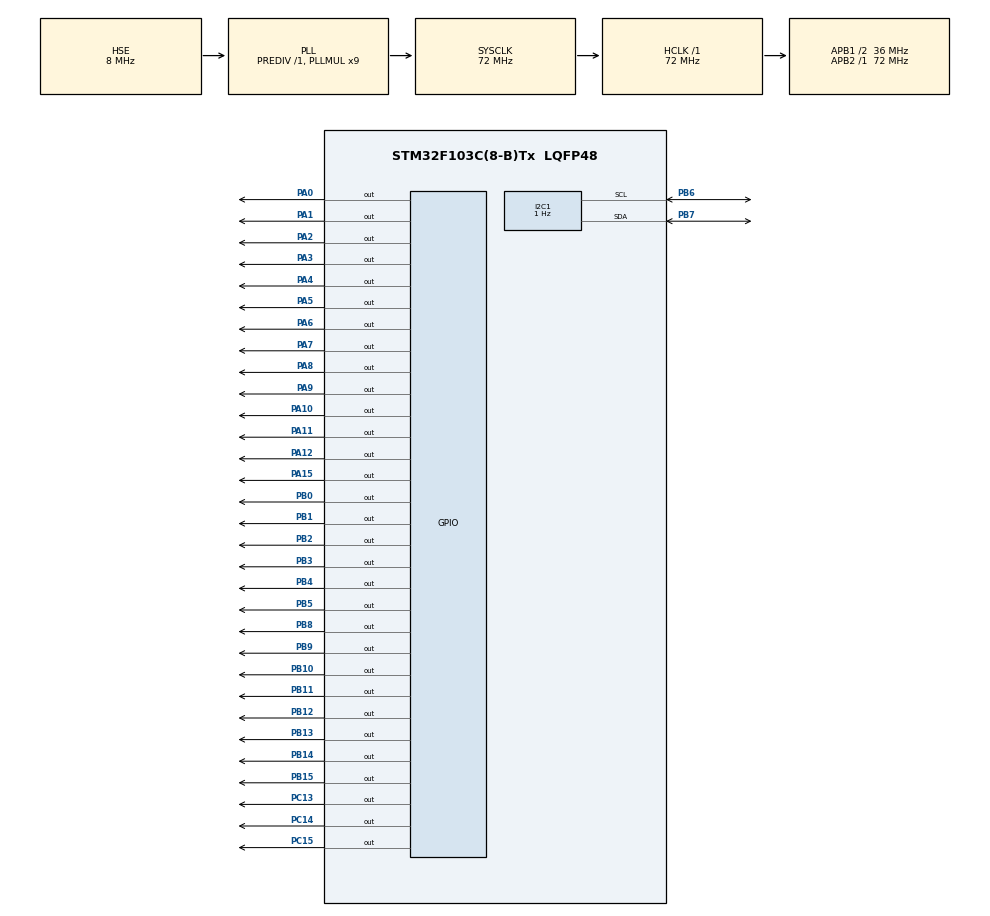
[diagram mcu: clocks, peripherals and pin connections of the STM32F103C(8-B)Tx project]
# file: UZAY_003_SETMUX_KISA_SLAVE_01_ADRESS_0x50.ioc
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I2C1.ClockSpeed=1
I2C1.I2C_Mode=I2C_Standard
I2C1.OwnAddress=0x50
Mcu.Family=STM32F1
Mcu.Name=STM32F103C(8-B)Tx
Mcu.Package=LQFP48
NVIC.I2C1_ER_IRQn=true\:0\:0\:false\:false\:true\:true\:true\:true
NVIC.I2C1_EV_IRQn=true\:0\:0\:false\:false\:true\:true\:true\:true
NVIC.PriorityGroup=NVIC_PRIORITYGROUP_4
NVIC.TIM1_UP_IRQn=true\:0\:0\:false\:false\:true\:true\:true\:true
NVIC.TIM2_IRQn=true\:0\:0\:false\:false\:true\:true\:true\:true
PA0-WKUP.GPIO_ModeDefaultOutputPP=GPIO_MODE_OUTPUT_PP
PA0-WKUP.GPIO_PuPd=GPIO_NOPULL
PA0-WKUP.GPIO_Speed=GPIO_SPEED_FREQ_HIGH
PA0-WKUP.PinState=GPIO_PIN_RESET
PA0-WKUP.Signal=GPIO_Output
PA1.GPIO_ModeDefaultOutputPP=GPIO_MODE_OUTPUT_PP
PA1.GPIO_PuPd=GPIO_NOPULL
PA1.GPIO_Speed=GPIO_SPEED_FREQ_HIGH
PA1.PinState=GPIO_PIN_RESET
PA1.Signal=GPIO_Output
PA10.GPIO_ModeDefaultOutputPP=GPIO_MODE_OUTPUT_PP
PA10.GPIO_PuPd=GPIO_NOPULL
PA10.GPIO_Speed=GPIO_SPEED_FREQ_HIGH
PA10.PinState=GPIO_PIN_RESET
PA10.Signal=GPIO_Output
PA11.GPIO_ModeDefaultOutputPP=GPIO_MODE_OUTPUT_PP
PA11.GPIO_PuPd=GPIO_NOPULL
PA11.GPIO_Speed=GPIO_SPEED_FREQ_HIGH
PA11.PinState=GPIO_PIN_RESET
PA11.Signal=GPIO_Output
PA12.GPIO_ModeDefaultOutputPP=GPIO_MODE_OUTPUT_PP
PA12.GPIO_PuPd=GPIO_NOPULL
PA12.GPIO_Speed=GPIO_SPEED_FREQ_HIGH
PA12.PinState=GPIO_PIN_RESET
PA12.Signal=GPIO_Output
PA13.Mode=Serial_Wire
PA13.Signal=SYS_JTMS-SWDIO
PA14.Mode=Serial_Wire
PA14.Signal=SYS_JTCK-SWCLK
PA15.GPIO_ModeDefaultOutputPP=GPIO_MODE_OUTPUT_PP
PA15.GPIO_PuPd=GPIO_NOPULL
PA15.GPIO_Speed=GPIO_SPEED_FREQ_HIGH
PA15.PinState=GPIO_PIN_RESET
PA15.Signal=GPIO_Output
PA2.GPIO_ModeDefaultOutputPP=GPIO_MODE_OUTPUT_PP
PA2.GPIO_PuPd=GPIO_NOPULL
PA2.GPIO_Speed=GPIO_SPEED_FREQ_HIGH
PA2.PinState=GPIO_PIN_RESET
PA2.Signal=GPIO_Output
PA3.GPIO_ModeDefaultOutputPP=GPIO_MODE_OUTPUT_PP
PA3.GPIO_PuPd=GPIO_NOPULL
PA3.GPIO_Speed=GPIO_SPEED_FREQ_HIGH
PA3.PinState=GPIO_PIN_RESET
PA3.Signal=GPIO_Output
PA4.GPIO_ModeDefaultOutputPP=GPIO_MODE_OUTPUT_PP
PA4.GPIO_PuPd=GPIO_NOPULL
PA4.GPIO_Speed=GPIO_SPEED_FREQ_HIGH
PA4.PinState=GPIO_PIN_RESET
PA4.Signal=GPIO_Output
PA5.GPIO_ModeDefaultOutputPP=GPIO_MODE_OUTPUT_PP
PA5.GPIO_PuPd=GPIO_NOPULL
PA5.GPIO_Speed=GPIO_SPEED_FREQ_HIGH
PA5.PinState=GPIO_PIN_RESET
PA5.Signal=GPIO_Output
PA6.GPIO_ModeDefaultOutputPP=GPIO_MODE_OUTPUT_PP
PA6.GPIO_PuPd=GPIO_NOPULL
PA6.GPIO_Speed=GPIO_SPEED_FREQ_HIGH
PA6.PinState=GPIO_PIN_RESET
PA6.Signal=GPIO_Output
PA7.GPIO_ModeDefaultOutputPP=GPIO_MODE_OUTPUT_PP
PA7.GPIO_PuPd=GPIO_NOPULL
PA7.GPIO_Speed=GPIO_SPEED_FREQ_HIGH
PA7.PinState=GPIO_PIN_RESET
PA7.Signal=GPIO_Output
PA8.GPIO_ModeDefaultOutputPP=GPIO_MODE_OUTPUT_PP
PA8.GPIO_PuPd=GPIO_NOPULL
PA8.GPIO_Speed=GPIO_SPEED_FREQ_HIGH
PA8.PinState=GPIO_PIN_RESET
PA8.Signal=GPIO_Output
PA9.GPIO_ModeDefaultOutputPP=GPIO_MODE_OUTPUT_PP
PA9.GPIO_PuPd=GPIO_NOPULL
PA9.GPIO_Speed=GPIO_SPEED_FREQ_HIGH
PA9.PinState=GPIO_PIN_RESET
PA9.Signal=GPIO_Output
PB0.GPIO_ModeDefaultOutputPP=GPIO_MODE_OUTPUT_PP
PB0.GPIO_PuPd=GPIO_NOPULL
PB0.GPIO_Speed=GPIO_SPEED_FREQ_HIGH
PB0.PinState=GPIO_PIN_RESET
PB0.Signal=GPIO_Output
PB1.GPIO_ModeDefaultOutputPP=GPIO_MODE_OUTPUT_PP
PB1.GPIO_PuPd=GPIO_NOPULL
PB1.GPIO_Speed=GPIO_SPEED_FREQ_HIGH
PB1.PinState=GPIO_PIN_RESET
PB1.Signal=GPIO_Output
PB10.GPIO_ModeDefaultOutputPP=GPIO_MODE_OUTPUT_PP
PB10.GPIO_PuPd=GPIO_NOPULL
PB10.GPIO_Speed=GPIO_SPEED_FREQ_HIGH
PB10.PinState=GPIO_PIN_RESET
PB10.Signal=GPIO_Output
PB11.GPIO_ModeDefaultOutputPP=GPIO_MODE_OUTPUT_PP
PB11.GPIO_PuPd=GPIO_NOPULL
PB11.GPIO_Speed=GPIO_SPEED_FREQ_HIGH
PB11.PinState=GPIO_PIN_RESET
PB11.Signal=GPIO_Output
PB12.GPIO_ModeDefaultOutputPP=GPIO_MODE_OUTPUT_PP
PB12.GPIO_PuPd=GPIO_NOPULL
PB12.GPIO_Speed=GPIO_SPEED_FREQ_HIGH
PB12.PinState=GPIO_PIN_RESET
PB12.Signal=GPIO_Output
PB13.GPIO_ModeDefaultOutputPP=GPIO_MODE_OUTPUT_PP
PB13.GPIO_PuPd=GPIO_NOPULL
PB13.GPIO_Speed=GPIO_SPEED_FREQ_HIGH
PB13.PinState=GPIO_PIN_RESET
PB13.Signal=GPIO_Output
PB14.GPIO_ModeDefaultOutputPP=GPIO_MODE_OUTPUT_PP
PB14.GPIO_PuPd=GPIO_NOPULL
PB14.GPIO_Speed=GPIO_SPEED_FREQ_HIGH
PB14.PinState=GPIO_PIN_RESET
PB14.Signal=GPIO_Output
PB15.GPIO_ModeDefaultOutputPP=GPIO_MODE_OUTPUT_PP
PB15.GPIO_PuPd=GPIO_NOPULL
PB15.GPIO_Speed=GPIO_SPEED_FREQ_HIGH
PB15.PinState=GPIO_PIN_RESET
PB15.Signal=GPIO_Output
PB2.GPIO_ModeDefaultOutputPP=GPIO_MODE_OUTPUT_PP
PB2.GPIO_PuPd=GPIO_NOPULL
PB2.GPIO_Speed=GPIO_SPEED_FREQ_HIGH
PB2.PinState=GPIO_PIN_RESET
PB2.Signal=GPIO_Output
PB3.GPIO_ModeDefaultOutputPP=GPIO_MODE_OUTPUT_PP
PB3.GPIO_PuPd=GPIO_NOPULL
PB3.GPIO_Speed=GPIO_SPEED_FREQ_HIGH
PB3.PinState=GPIO_PIN_RESET
PB3.Signal=GPIO_Output
PB4.GPIO_ModeDefaultOutputPP=GPIO_MODE_OUTPUT_PP
PB4.GPIO_PuPd=GPIO_NOPULL
PB4.GPIO_Speed=GPIO_SPEED_FREQ_HIGH
PB4.PinState=GPIO_PIN_RESET
PB4.Signal=GPIO_Output
PB5.GPIO_ModeDefaultOutputPP=GPIO_MODE_OUTPUT_PP
PB5.GPIO_PuPd=GPIO_NOPULL
PB5.GPIO_Speed=GPIO_SPEED_FREQ_HIGH
PB5.PinState=GPIO_PIN_RESET
PB5.Signal=GPIO_Output
PB6.Mode=I2C
PB6.Signal=I2C1_SCL
PB7.Mode=I2C
PB7.Signal=I2C1_SDA
PB8.GPIO_ModeDefaultOutputPP=GPIO_MODE_OUTPUT_PP
PB8.GPIO_PuPd=GPIO_NOPULL
PB8.GPIO_Speed=GPIO_SPEED_FREQ_HIGH
PB8.PinState=GPIO_PIN_RESET
PB8.Signal=GPIO_Output
PB9.GPIO_ModeDefaultOutputPP=GPIO_MODE_OUTPUT_PP
PB9.GPIO_PuPd=GPIO_NOPULL
PB9.GPIO_Speed=GPIO_SPEED_FREQ_HIGH
PB9.PinState=GPIO_PIN_RESET
PB9.Signal=GPIO_Output
PC13-TAMPER-RTC.GPIO_ModeDefaultOutputPP=GPIO_MODE_OUTPUT_PP
PC13-TAMPER-RTC.GPIO_PuPd=GPIO_NOPULL
PC13-TAMPER-RTC.GPIO_Speed=GPIO_SPEED_FREQ_HIGH
PC13-TAMPER-RTC.PinState=GPIO_PIN_RESET
PC13-TAMPER-RTC.Signal=GPIO_Output
PC14-OSC32_IN.GPIO_ModeDefaultOutputPP=GPIO_MODE_OUTPUT_PP
PC14-OSC32_IN.GPIO_PuPd=GPIO_NOPULL
PC14-OSC32_IN.GPIO_Speed=GPIO_SPEED_FREQ_HIGH
PC14-OSC32_IN.PinState=GPIO_PIN_RESET
PC14-OSC32_IN.Signal=GPIO_Output
PC15-OSC32_OUT.GPIO_ModeDefaultOutputPP=GPIO_MODE_OUTPUT_PP
PC15-OSC32_OUT.GPIO_PuPd=GPIO_NOPULL
PC15-OSC32_OUT.GPIO_Speed=GPIO_SPEED_FREQ_HIGH
PC15-OSC32_OUT.PinState=GPIO_PIN_RESET
PC15-OSC32_OUT.Signal=GPIO_Output
PD0-OSC_IN.Mode=HSE-External-Oscillator
PD0-OSC_IN.Signal=RCC_OSC_IN
PD1-OSC_OUT.Mode=HSE-External-Oscillator
PD1-OSC_OUT.Signal=RCC_OSC_OUT
ProjectManager.HeapSize=0x200
ProjectManager.StackSize=0x400
ProjectManager.TargetToolchain=STM32CubeIDE
RCC.AHBFreq_Value=72000000
RCC.APB1CLKDivider=RCC_HCLK_DIV2
RCC.APB1Freq_Value=36000000
RCC.APB1TimFreq_Value=72000000
RCC.APB2Freq_Value=72000000
RCC.APB2TimFreq_Value=72000000
RCC.HCLKFreq_Value=72000000
RCC.PLLMUL=RCC_PLL_MUL9
RCC.PLLSourceVirtual=RCC_PLLSOURCE_HSE
RCC.SYSCLKFreq_VALUE=72000000
RCC.SYSCLKSource=RCC_SYSCLKSOURCE_PLLCLK
RCC.USBFreq_Value=72000000
TIM1.AutoReloadPreload=TIM_AUTORELOAD_PRELOAD_DISABLE
TIM1.Period=399
TIM1.Prescaler=3599
TIM1.TIM_MasterOutputTrigger=TIM_TRGO_UPDATE
TIM2.Period=0xffff-1
TIM2.Prescaler=72-1
VP_TIM1_VS_ClockSourceINT.Mode=Internal
VP_TIM2_VS_ClockSourceINT.Mode=Internal
board=custom

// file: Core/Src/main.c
/* USER CODE BEGIN Header */
/** SLAVE 1 - I2C SLAVE ADRES: 0x50
 *METE SEPETCIOGLU - ABDULLAH CENGIZ
//Master stm32f103'ten gelen I2C verisini, slave stm32f103 ile okuyup 5 adet mux kontrol eden slave kodu.
//Bu Slave stm32 80 adet ledi kontrol edebilme kapasitesine sahiptir.
//Sahada Konrol edilen led sayısı: 56 adet
//1 -7 mux1
//8 -14 mux2
//15-21 mux3
//22-28 mux4
//29-35 mux5
 *
 * I2C ile okunan 10 elemanlı mesajın ilk 5 elemanı yanıp sönecek uyarı ledleri, son 5 elemanı sabit yanık duracak ledleri ifade eder.
 * Led söndürülmek isteniyorsa gelen mesaj 0 olmalıdır.

// her bir slave stm32f103 5 adet mux kontrol edilecek. her muxu 6 dijital cıkıs kontrol eder. toplamda 30 GPIO_Output aktif olacak.
// ornegin mux1-a0,a1,a2,a3,a4 pinlerine bagli ise
// a0 pini aktifse mux kapalı, pasifse mux calismaya aciktir.
// a1,a2,a3,a4 pinleri ise mux cıkıslarını kontrol eder.
// alinan mesaj {0,0,1,2,3,0,0,32,33,34} ise bu slave 1,2,3 bölümdeki ledleri yak sön, 32,33,34ü ise yanık hale getirecektir.
// önce mux1 ve mux5 enable pinleri resete getirilecek.
 *
 * MUX1_EN  = B12
 * MUX1_SIG = A9
 * MUX2_EN  = A10
 * MUX2_SIG = B4       KONTROL EDILDI
 * MUX3_EN  = A2
 * MUX3_SIG = C13
 * MUX4_EN  = B0
 * MUX4_SIG = A3
 * MUX5_EN  = B9
 * MUX5_SIG = B11
 ******************************************************************************
 * @file           : main.c
 * @brief          : Main program body
 ******************************************************************************
 * @attention
 *
 * Copyright (c) 2023 STMicroelectronics.
 * All rights reserved.
 *
 * This software is licensed under terms that can be found in the LICENSE file
 * in the root directory of this software component.
 * If no LICENSE file comes with this software, it is provided AS-IS.
 *
 ******************************************************************************
 */
/* USER CODE END Header */
#include "main.h"

I2C_HandleTypeDef hi2c1;

TIM_HandleTypeDef htim1;
TIM_HandleTypeDef htim2;

void SystemClock_Config(void);
static void MX_GPIO_Init(void);
static void MX_I2C1_Init(void);
static void MX_TIM1_Init(void);
static void MX_TIM2_Init(void);

/* USER CODE BEGIN 0 */

//uint8_t bitRead(uint8_t value, uint8_t bitNumber)
//{
//	return (value >> bitNumber) & 0x01;
//}
//void Setmuxchannel_MUX1(uint8_t channel)
//{
//	HAL_GPIO_WritePin(GPIOB, GPIO_PIN_13,  bitRead(channel, 0));
//	HAL_GPIO_WritePin(GPIOB, GPIO_PIN_14, bitRead(channel, 1));
//	HAL_GPIO_WritePin(GPIOB, GPIO_PIN_15, bitRead(channel, 2));
//	HAL_GPIO_WritePin(GPIOA, GPIO_PIN_8, bitRead(channel, 3));
//	//MUX1 SIG -
//}
//void Setmuxchannel_MUX2(uint8_t channel)
//{
//	HAL_GPIO_WritePin(GPIOA, GPIO_PIN_11,  bitRead(channel, 0));
//	HAL_GPIO_WritePin(GPIOA, GPIO_PIN_12, bitRead(channel, 1));
//	HAL_GPIO_WritePin(GPIOA, GPIO_PIN_15, bitRead(channel, 2));
//	HAL_GPIO_WritePin(GPIOB, GPIO_PIN_3, bitRead(channel, 3));
//}
//void Setmuxchannel_MUX3(uint8_t channel)
//{
//	HAL_GPIO_WritePin(GPIOA, GPIO_PIN_1,  bitRead(channel, 0));
//	HAL_GPIO_WritePin(GPIOA, GPIO_PIN_0,  bitRead(channel, 1));
//	HAL_GPIO_WritePin(GPIOC, GPIO_PIN_15, bitRead(channel, 2));
//	HAL_GPIO_WritePin(GPIOC, GPIO_PIN_14, bitRead(channel, 3));
//}
//void Setmuxchannel_MUX4(uint8_t channel)
//{
//	HAL_GPIO_WritePin(GPIOA, GPIO_PIN_7, bitRead(channel, 0));
//	HAL_GPIO_WritePin(GPIOA, GPIO_PIN_6, bitRead(channel, 1));
//	HAL_GPIO_WritePin(GPIOA, GPIO_PIN_5, bitRead(channel, 2));
//	HAL_GPIO_WritePin(GPIOA, GPIO_PIN_4, bitRead(channel, 3));
//}
//void Setmuxchannel_MUX5(uint8_t channel)
//{
//	HAL_GPIO_WritePin(GPIOB, GPIO_PIN_8, bitRead(channel, 0));
//	HAL_GPIO_WritePin(GPIOB, GPIO_PIN_5, bitRead(channel, 1));
//	HAL_GPIO_WritePin(GPIOB, GPIO_PIN_1, bitRead(channel, 2));
//	HAL_GPIO_WritePin(GPIOB, GPIO_PIN_10,bitRead(channel, 3));
//}

uint8_t value_01 = 0;
uint8_t value_02 = 0;
uint8_t value_03 = 0;
uint8_t value_04 = 0;

/*
 * Mux girişlerine her defasında tekrar dijital çıkış vermemek icin Setmuxchannel_Mux fonksiyona güncelleme yapildi.
 *
 * örnegin ilk verdigimiz cikis 0011 ise islemci c3-c2 pinlerine low, c1-c0 pinlerine high verilmekte
 * bir sonraki mesaj 0010 ise tekrardan c3-c2 pinlerine low ve c1 pinine high yazmak yerine
 * mesajin sadece degisen kismina dijital cikisi degistirmek yeterlidir.
 * yani ikinci mesaja göre mux'a 0010 vermek istiyorsak sadece c0 pinini low'a cekmemiz gerekiyor.
 * Bu sayede tekrar tekrar butun pinlere islem yaptirmaktan kacinmis olduk.
 */

void Setmuxchannel_MUX1(uint8_t newValue_01)
{
	// Önceki değer ile yeni değeri karşılaştır ve sadece farklı bitleri güncelle
	uint8_t diff = value_01 ^ newValue_01;

	// 1. biti güncelle
	if (diff & 0x01)
	{
		if (newValue_01 & 0x01)
		{
			// 1. biti 1 yap
			HAL_GPIO_WritePin(GPIOB, GPIO_PIN_13, GPIO_PIN_SET); // Örnek olarak GPIOA pin 0 kullanılıyor
		} else {
			// 1. biti 0 yap
			HAL_GPIO_WritePin(GPIOB, GPIO_PIN_13, GPIO_PIN_RESET);
		}
	}

	// 2. biti güncelle
	if (diff & 0x02) {
		if (newValue_01 & 0x02) {
			// 2. biti 1 yap
			HAL_GPIO_WritePin(GPIOB, GPIO_PIN_14, GPIO_PIN_SET); // Örnek olarak GPIOA pin 1 kullanılıyor
		} else {
			// 2. biti 0 yap
			HAL_GPIO_WritePin(GPIOB, GPIO_PIN_14, GPIO_PIN_RESET);
		}
	}

	// 3. biti güncelle
	if (diff & 0x04) {
		if (newValue_01 & 0x04)
		{
			// 3. biti 1 yap
			HAL_GPIO_WritePin(GPIOB, GPIO_PIN_15, GPIO_PIN_SET); // Örnek olarak GPIOA pin 2 kullanılıyor
		} else {
			// 3. biti 0 yap
			HAL_GPIO_WritePin(GPIOB, GPIO_PIN_15, GPIO_PIN_RESET);
		}
	}

	// 4. biti güncelle
	if (diff & 0x08) {
		if (newValue_01 & 0x08)
		{
			// 4. biti 1 yap
			HAL_GPIO_WritePin(GPIOA, GPIO_PIN_8, GPIO_PIN_SET); // Örnek olarak GPIOA pin 3 kullanılıyor
		} else
		{
			// 4. biti 0 yap
			HAL_GPIO_WritePin(GPIOA, GPIO_PIN_8, GPIO_PIN_RESET);
		}
	}

	// Yeni değeri güncelle
	value_01 = newValue_01;
}

void Setmuxchannel_MUX2(uint8_t newValue_02)
{
	// Önceki değer ile yeni değeri karşılaştır ve sadece farklı bitleri güncelle
	uint8_t diff = value_02 ^ newValue_02;

	// 1. biti güncelle
	if (diff & 0x01)
	{
		if (newValue_02 & 0x01)
		{
			// 1. biti 1 yap
			HAL_GPIO_WritePin(GPIOA, GPIO_PIN_11, GPIO_PIN_SET); // Örnek olarak GPIOA pin 0 kullanılıyor
		} else {
			// 1. biti 0 yap
			HAL_GPIO_WritePin(GPIOA, GPIO_PIN_11, GPIO_PIN_RESET);
		}
	}

	// 2. biti güncelle
	if (diff & 0x02) {
		if (newValue_02 & 0x02) {
			// 2. biti 1 yap
			HAL_GPIO_WritePin(GPIOA, GPIO_PIN_12, GPIO_PIN_SET); // Örnek olarak GPIOA pin 1 kullanılıyor
		} else {
			// 2. biti 0 yap
			HAL_GPIO_WritePin(GPIOA, GPIO_PIN_12, GPIO_PIN_RESET);
		}
	}

	// 3. biti güncelle
	if (diff & 0x04) {
		if (newValue_02 & 0x04)
		{
			// 3. biti 1 yap
			HAL_GPIO_WritePin(GPIOA, GPIO_PIN_15, GPIO_PIN_SET); // Örnek olarak GPIOA pin 2 kullanılıyor
		} else {
			// 3. biti 0 yap
			HAL_GPIO_WritePin(GPIOA, GPIO_PIN_15, GPIO_PIN_RESET);
		}
	}

	// 4. biti güncelle
	if (diff & 0x08) {
		if (newValue_02 & 0x08)
		{
			// 4. biti 1 yap
			HAL_GPIO_WritePin(GPIOB, GPIO_PIN_3, GPIO_PIN_SET); // Örnek olarak GPIOA pin 3 kullanılıyor
		} else
		{
			// 4. biti 0 yap
			HAL_GPIO_WritePin(GPIOB, GPIO_PIN_3, GPIO_PIN_RESET);
		}
	}

	// Yeni değeri güncelle
	value_02 = newValue_02;
}

void Setmuxchannel_MUX3(uint8_t newValue_03)
{
	// Önceki değer ile yeni değeri karşılaştır ve sadece farklı bitleri güncelle
	uint8_t diff = value_03 ^ newValue_03;

	// 1. biti güncelle
	if (diff & 0x01)
	{
		if (newValue_03 & 0x01)
		{
			// 1. biti 1 yap
			HAL_GPIO_WritePin(GPIOA, GPIO_PIN_1, GPIO_PIN_SET); // Örnek olarak GPIOA pin 0 kullanılıyor
		} else {
			// 1. biti 0 yap
			HAL_GPIO_WritePin(GPIOA, GPIO_PIN_1, GPIO_PIN_RESET);
		}
	}

	// 2. biti güncelle
	if (diff & 0x02) {
		if (newValue_03 & 0x02) {
			// 2. biti 1 yap
			HAL_GPIO_WritePin(GPIOA, GPIO_PIN_0, GPIO_PIN_SET); // Örnek olarak GPIOA pin 1 kullanılıyor
		} else {
			// 2. biti 0 yap
			HAL_GPIO_WritePin(GPIOA, GPIO_PIN_0, GPIO_PIN_RESET);
		}
	}

	// 3. biti güncelle
	if (diff & 0x04) {
		if (newValue_03 & 0x04)
		{
			// 3. biti 1 yap
			HAL_GPIO_WritePin(GPIOC, GPIO_PIN_15, GPIO_PIN_SET); // Örnek olarak GPIOA pin 2 kullanılıyor
		} else {
			// 3. biti 0 yap
			HAL_GPIO_WritePin(GPIOC, GPIO_PIN_15, GPIO_PIN_RESET);
		}
	}

	// 4. biti güncelle
	if (diff & 0x08) {
		if (newValue_03 & 0x08)
		{
			// 4. biti 1 yap
			HAL_GPIO_WritePin(GPIOC, GPIO_PIN_14, GPIO_PIN_SET); // Örnek olarak GPIOA pin 3 kullanılıyor
		} else
		{
			// 4. biti 0 yap
			HAL_GPIO_WritePin(GPIOC, GPIO_PIN_14, GPIO_PIN_RESET);
		}
	}

	// Yeni değeri güncelle
	value_03 = newValue_03;
}

void Setmuxchannel_MUX4(uint8_t newValue_04)
{
	// Önceki değer ile yeni değeri karşılaştır ve sadece farklı bitleri güncelle
	uint8_t diff = value_04 ^ newValue_04;

	// 1. biti güncelle
	if (diff & 0x01)
	{
		if (newValue_04 & 0x01)
		{
			// 1. biti 1 yap
			HAL_GPIO_WritePin(GPIOA, GPIO_PIN_7, GPIO_PIN_SET); // Örnek olarak GPIOA pin 0 kullanılıyor
		} else {
			// 1. biti 0 yap
			HAL_GPIO_WritePin(GPIOA, GPIO_PIN_7, GPIO_PIN_RESET);
		}
	}

	// 2. biti güncelle
	if (diff & 0x02) {
		if (newValue_04 & 0x02) {
			// 2. biti 1 yap
			HAL_GPIO_WritePin(GPIOA, GPIO_PIN_6, GPIO_PIN_SET); // Örnek olarak GPIOA pin 1 kullanılıyor
		} else {
			// 2. biti 0 yap
			HAL_GPIO_WritePin(GPIOA, GPIO_PIN_6, GPIO_PIN_RESET);
		}
	}

	// 3. biti güncelle
	if (diff & 0x04) {
		if (newValue_04 & 0x04)
		{
			// 3. biti 1 yap
			HAL_GPIO_WritePin(GPIOA, GPIO_PIN_5, GPIO_PIN_SET); // Örnek olarak GPIOA pin 2 kullanılıyor
		} else {
			// 3. biti 0 yap
			HAL_GPIO_WritePin(GPIOA, GPIO_PIN_5, GPIO_PIN_RESET);
		}
	}

	// 4. biti güncelle
	if (diff & 0x08) {
		if (newValue_04 & 0x08)
		{
			// 4. biti 1 yap
			HAL_GPIO_WritePin(GPIOA, GPIO_PIN_4, GPIO_PIN_SET); // Örnek olarak GPIOA pin 3 kullanılıyor
		} else
		{
			// 4. biti 0 yap
			HAL_GPIO_WritePin(GPIOA, GPIO_PIN_4, GPIO_PIN_RESET);
		}
	}

	// Yeni değeri güncelle
	value_04 = newValue_04;
}
//
//void Setmuxchannel_MUX5(uint8_t newValue)
//{
//	// Önceki değer ile yeni değeri karşılaştır ve sadece farklı bitleri güncelle
//	uint8_t diff = value ^ newValue;
//
//	// 1. biti güncelle
//	if (diff & 0x01)
//	{
//		if (newValue & 0x01)
//		{
//			// 1. biti 1 yap
//			HAL_GPIO_WritePin(GPIOB, GPIO_PIN_8, GPIO_PIN_SET); // Örnek olarak GPIOA pin 0 kullanılıyor
//		} else {
//			// 1. biti 0 yap
//			HAL_GPIO_WritePin(GPIOB, GPIO_PIN_8, GPIO_PIN_RESET);
//		}
//	}
//
//	// 2. biti güncelle
//	if (diff & 0x02) {
//		if (newValue & 0x02) {
//			// 2. biti 1 yap
//			HAL_GPIO_WritePin(GPIOB, GPIO_PIN_5, GPIO_PIN_SET); // Örnek olarak GPIOA pin 1 kullanılıyor
//		} else {
//			// 2. biti 0 yap
//			HAL_GPIO_WritePin(GPIOB, GPIO_PIN_5, GPIO_PIN_RESET);
//		}
//	}
//
//	// 3. biti güncelle
//	if (diff & 0x04) {
//		if (newValue & 0x04)
//		{
//			// 3. biti 1 yap
//			HAL_GPIO_WritePin(GPIOB, GPIO_PIN_1, GPIO_PIN_SET); // Örnek olarak GPIOA pin 2 kullanılıyor
//		} else {
//			// 3. biti 0 yap
//			HAL_GPIO_WritePin(GPIOB, GPIO_PIN_1, GPIO_PIN_RESET);
//		}
//	}
//
//	// 4. biti güncelle
//	if (diff & 0x08)
//	{
//		if (newValue & 0x08)
//		{
//			// 4. biti 1 yap
//			HAL_GPIO_WritePin(GPIOB, GPIO_PIN_10, GPIO_PIN_SET); // Örnek olarak GPIOA pin 3 kullanılıyor
//		} else
//		{
//			// 4. biti 0 yap
//			HAL_GPIO_WritePin(GPIOB, GPIO_PIN_10, GPIO_PIN_RESET);
//		}
//	}
//
//	// Yeni değeri güncelle
//	value = newValue;
//}

void delay_us (uint16_t us)
{
	__HAL_TIM_SET_COUNTER(&htim2,0);  // set the counter value a 0
	while (__HAL_TIM_GET_COUNTER(&htim2) < us);  // wait for the counter to reach the us input in the parameter
}

uint8_t alinan_mesaj[10];

uint8_t mux1[10] = {0};  // İlk 5 elemanında 1-7 varsa yanıp sönecek
uint8_t mux2[10] = {0};  // İlk 5 elemanında 8-14 varsa yanıp sönecek 8,9,10,11,12,13,14 numarali ledler bu iki diziden birine atanacak
uint8_t mux3[10] = {0};  // İlk 5 elemanında 15-21 varsa yanıp sönecek 15,16,17,18,19,20,21 numarali ledler bu iki diziden birine atanacak
uint8_t mux4[10] = {0};  // İlk 5 elemanında 22-28 varsa yanıp sönecek 22,23,24,25,26,27,28 numarali ledler bu iki diziden birine atanacak
uint8_t mux5[10] = {0};  // İlk 5 elemanında 29-35 varsa yanıp sönecek 29,30,31,32,33,34,35 numarali ledler bu iki diziden birine atanacak

uint32_t i_Timer=0;

uint8_t checkAllZeros(uint8_t* arr, uint8_t length)
{
	for (uint8_t hapsu = 0; hapsu < length; hapsu++)
	{
		if (arr[hapsu] != 0)
		{
			return 0; // Dizide 0'dan farklı bir eleman var
		}
	}
	return 1; // Dizide sadece 0 var
}

void HAL_TIM_PeriodElapsedCallback(TIM_HandleTypeDef *htim)
{
	if(htim->Instance==htim1.Instance)
	{
		//HAL_I2C_Slave_Receive(&hi2c1, alinan_mesaj, sizeof(alinan_mesaj), HAL_MAX_DELAY);
		i_Timer++;
		if(i_Timer == 25)	i_Timer = 0;

	}
}

//Her mux icin dizi olusturma
void processReceivedData()
{

	for (uint8_t i=0 ; i<10;i++ )
	{

		if (alinan_mesaj[i] >= 1 && alinan_mesaj[i] <= 7)
		{
			mux1[i] = alinan_mesaj[i];
		}
		else
		{
			mux1[i] = 0;
		}

		if (alinan_mesaj[i] >= 8 && alinan_mesaj[i] <= 14)
		{
			mux2[i] = alinan_mesaj[i] - 7;
		}
		else
		{
			mux2[i] = 0;
		}

		if (alinan_mesaj[i] >= 15 && alinan_mesaj[i] <= 21)
		{
			mux3[i] = alinan_mesaj[i] - 14;
		}
		else
		{
			mux3[i] = 0;
		}

		if (alinan_mesaj[i] >= 22 && alinan_mesaj[i] <= 28)
		{
			mux4[i] = alinan_mesaj[i] - 21;
		}
		else
		{
			mux4[i] = 0;
		}

	}

	//		if (alinan_mesaj[i] >= 29 && alinan_mesaj[i] <= 35)
	//		{
	//			mux5[i] = alinan_mesaj[i] - 28;
	//		}
	//		else
	//		{
	//			mux5[i] = 0;
	//		}

}
/* USER CODE END 0 */

int main(void)
{

	/* MCU Configuration--------------------------------------------------------*/

	/* Reset of all peripherals, Initializes the Flash interface and the Systick. */
	HAL_Init();

	/* Configure the system clock */
	SystemClock_Config();

	/* Initialize all configured peripherals */
	MX_GPIO_Init();
	MX_I2C1_Init();
	MX_TIM1_Init();
	MX_TIM2_Init();
	/* USER CODE BEGIN 2 */
	HAL_TIM_Base_Start_IT(&htim1);
	HAL_TIM_Base_Start(&htim2);

	uint8_t mux1_cikis;
	uint8_t mux2_cikis;
	uint8_t mux3_cikis;
	uint8_t mux4_cikis;
	//	uint8_t mux5_cikis;
	//	HAL_GPIO_WritePin(GPIOB, GPIO_PIN_9, RESET);
	//	HAL_GPIO_WritePin(GPIOB, GPIO_PIN_11, SET);

	/* USER CODE END 2 */

	/* Infinite loop */
	while (1)
	{

		/* USER CODE BEGIN 3 */

		HAL_I2C_Slave_Receive_IT(&hi2c1, alinan_mesaj, sizeof(alinan_mesaj));

		//mux1[10]={1,2,3,4,5,6,7}
		//mux2[10]={1,2,3,4,5,6,7}

		//      // processReceivedData alinan_mesaji parcaladik ve mux1,mux2,mux3... dizilerine anlamlandirdik
		//
		//      //her mux icin diziler olusturuldu. simdi komple 0 olan mux varsa kapatalim
		//		 //checkAllZeros diziyi kontrol eder. butun elemanlar 0 ise 1 cikisi üretir.
		//

		//		mux5_cikis = checkAllZeros(mux5, 10) ? 1 : 0;
		//
		//
		//
		//		// * MUX1_EN  = B12
		//		// * MUX1_SIG = A9
		//		// * MUX2_EN  = A10
		//		// * MUX2_SIG = B4
		//		// * MUX3_EN  = A2
		//		// * MUX3_SIG = C13
		//		// * MUX4_EN  = B0
		//		// * MUX4_SIG = A3
		//		// * MUX5_EN  = B9
		//		// * MUX5_SIG = B11
		//// LEDLERI YANIP SONDURMEYE BASLAMA
		//

		processReceivedData();
		mux1_cikis = checkAllZeros(mux1,10) ? 1 : 0;
		mux2_cikis = checkAllZeros(mux2,10) ? 1 : 0;
		mux3_cikis = checkAllZeros(mux3,10) ? 1 : 0;
		mux4_cikis = checkAllZeros(mux4,10) ? 1 : 0;

		for (uint8_t yan = 0; yan<10; yan++)
		{

			if(yan < 5)
			{
				if(i_Timer <= 12)
				{
					if(!mux1_cikis)
					{
						HAL_GPIO_WritePin(GPIOB, GPIO_PIN_12, RESET); //mux1 acildi
						HAL_GPIO_WritePin(GPIOA, GPIO_PIN_9, SET);    //mux1'e cereyan verildi

						if(mux1[yan])
						{
							Setmuxchannel_MUX1(mux1[yan]+1); //yesil led
							delay_us(700);
						}

					}
					else	{
						HAL_GPIO_WritePin(GPIOB, GPIO_PIN_12, SET); //mux1 kapandi
						HAL_GPIO_WritePin(GPIOA, GPIO_PIN_9, RESET);    //mux1'e cereyan kesildi

					}
					/****************************************************************************************************/
					if(!mux2_cikis)
					{
						HAL_GPIO_WritePin(GPIOA, GPIO_PIN_10, RESET);
						HAL_GPIO_WritePin(GPIOB, GPIO_PIN_4, SET);
						if(mux2[yan])
						{
							Setmuxchannel_MUX2(mux2[yan]+1); //yesil yandi
							delay_us(700);

						}

					}
					else	{
						HAL_GPIO_WritePin(GPIOA, GPIO_PIN_10, SET);
						HAL_GPIO_WritePin(GPIOB, GPIO_PIN_4, RESET);
					}

					/****************************************************************************************************/
					if(!mux3_cikis)
					{
						HAL_GPIO_WritePin(GPIOA, GPIO_PIN_2, RESET);
						HAL_GPIO_WritePin(GPIOC, GPIO_PIN_13, SET);
						if(mux3[yan])
						{
							Setmuxchannel_MUX3(mux3[yan]+1); //yesil yandi
							delay_us(700);

						}
					}
					else	{
						HAL_GPIO_WritePin(GPIOA, GPIO_PIN_2, SET);
						HAL_GPIO_WritePin(GPIOC, GPIO_PIN_13, RESET);

					}

					/****************************************************************************************************/
					if(!mux4_cikis)
					{
						HAL_GPIO_WritePin(GPIOB, GPIO_PIN_0, RESET);
						HAL_GPIO_WritePin(GPIOA, GPIO_PIN_3, SET);

						if(mux4[yan])
						{
							Setmuxchannel_MUX4(mux4[yan]+1); //yesil yandi
							delay_us(700);
						}

					}
					else	{
						HAL_GPIO_WritePin(GPIOB, GPIO_PIN_0, SET);
						HAL_GPIO_WritePin(GPIOA, GPIO_PIN_3, RESET);
					}

					/****************************************************************************************************/
					//					if(!mux5_cikis)
					//					{
					//						HAL_GPIO_WritePin(GPIOB, GPIO_PIN_9, RESET);
					//						HAL_GPIO_WritePin(GPIOB, GPIO_PIN_11, SET);
					//						if(mux5[yan])
					//						{
					//							Setmuxchannel_MUX5(mux5[yan]+1); //yesil yandi
					//							delay_us(700)
					//						}
					//					}
					//					else	HAL_GPIO_WritePin(GPIOB, GPIO_PIN_9, SET);
				}

				else if(i_Timer> 12)
				{
					if(!mux1_cikis)
					{
						HAL_GPIO_WritePin(GPIOB, GPIO_PIN_12, RESET); //mux1 acildi
						HAL_GPIO_WritePin(GPIOA, GPIO_PIN_9, SET);    //mux1'e cereyan verildi
						if(mux1[yan])
						{
							Setmuxchannel_MUX1(mux1[yan]+8); //kirmizi led
							delay_us(700);
						}

					}
					else	{
						HAL_GPIO_WritePin(GPIOB, GPIO_PIN_12, SET); //mux1 acildi
						HAL_GPIO_WritePin(GPIOA, GPIO_PIN_9, RESET);    //mux1'e cereyan verildi

					}

					/****************************************************************************************************/
					if(!mux2_cikis)
					{
						HAL_GPIO_WritePin(GPIOA, GPIO_PIN_10, RESET);
						HAL_GPIO_WritePin(GPIOB, GPIO_PIN_4, SET);
						if(mux2[yan])
						{
							Setmuxchannel_MUX2(mux2[yan]+8); //kirmizi yandi
							delay_us(700);
						}

					}
					else	{
						HAL_GPIO_WritePin(GPIOA, GPIO_PIN_10, SET);
						HAL_GPIO_WritePin(GPIOB, GPIO_PIN_4, RESET);
					}
					/****************************************************************************************************/
					if(!mux3_cikis)
					{
						HAL_GPIO_WritePin(GPIOA, GPIO_PIN_2, RESET);
						HAL_GPIO_WritePin(GPIOC, GPIO_PIN_13, SET);
						if(mux3[yan])
						{
							Setmuxchannel_MUX3(mux3[yan]+8); //kirmizi yandi
							delay_us(700);
						}
					}
					else	{
						HAL_GPIO_WritePin(GPIOA, GPIO_PIN_2, SET);
						HAL_GPIO_WritePin(GPIOC, GPIO_PIN_13, RESET);

					}

					/****************************************************************************************************/
					if(!mux4_cikis)
					{
						HAL_GPIO_WritePin(GPIOB, GPIO_PIN_0, RESET);
						HAL_GPIO_WritePin(GPIOA, GPIO_PIN_3, SET);

						if(mux4[yan])
						{
							Setmuxchannel_MUX4(mux4[yan]+8); //kirmizi yandi
							delay_us(700);
						}
					}
					else	{
						HAL_GPIO_WritePin(GPIOB, GPIO_PIN_0, SET);
						HAL_GPIO_WritePin(GPIOA, GPIO_PIN_3, RESET);

					}

					/****************************************************************************************************/
					//					if(!mux5_cikis)
					//					{
					//						HAL_GPIO_WritePin(GPIOB, GPIO_PIN_9, RESET);
					//						HAL_GPIO_WritePin(GPIOB, GPIO_PIN_11, SET);
					//						if(mux5[yan])
					//						{
					//							Setmuxchannel_MUX5(mux5[yan]+8);
					//							delay_us(700)
					//						}
					//					}
					//					else	HAL_GPIO_WritePin(GPIOB, GPIO_PIN_9, RESET);

				}

			}
			if(yan >= 5) // sabit yanik dur
			{
				if(!mux1_cikis)

				{
					HAL_GPIO_WritePin(GPIOB, GPIO_PIN_12, RESET); //mux1 acildi
					HAL_GPIO_WritePin(GPIOA, GPIO_PIN_9, SET);    //mux1'e cereyan verildi
					if(mux1[yan])
					{
						Setmuxchannel_MUX1(mux1[yan]+1);
						delay_us(700);
						Setmuxchannel_MUX1(mux1[yan]+8);
						delay_us(700);        //yesil ve kirmizi ledler ayni anda yanik halde
					}

				}
				else	{
					HAL_GPIO_WritePin(GPIOB, GPIO_PIN_12, SET);  //mux1in topragi aktif edildi ve mux1 kapatildi
					HAL_GPIO_WritePin(GPIOA, GPIO_PIN_9, RESET); //
				}
				/****************************************************************************************************/
				if(!mux2_cikis)
				{

					HAL_GPIO_WritePin(GPIOA, GPIO_PIN_10, RESET);
					HAL_GPIO_WritePin(GPIOB, GPIO_PIN_4, SET);
					if(mux2[yan])
					{
						Setmuxchannel_MUX2(mux2[yan]+1);
						delay_us(700);
						Setmuxchannel_MUX2(mux2[yan]+8);
						delay_us(700);
					}
				}
				else	{
					HAL_GPIO_WritePin(GPIOA, GPIO_PIN_10, SET);
					HAL_GPIO_WritePin(GPIOB, GPIO_PIN_4, RESET);

				}

				/****************************************************************************************************/
				if(!mux3_cikis)
				{
					HAL_GPIO_WritePin(GPIOA, GPIO_PIN_2, RESET);
					HAL_GPIO_WritePin(GPIOC, GPIO_PIN_13, SET);
					if(mux3[yan])
					{
						Setmuxchannel_MUX3(mux3[yan]+1);
						delay_us(700);
						Setmuxchannel_MUX3(mux3[yan]+8);
						delay_us(700);
					}
				}
				else	{
					HAL_GPIO_WritePin(GPIOA, GPIO_PIN_2, SET);
					HAL_GPIO_WritePin(GPIOC, GPIO_PIN_13, RESET);

				}

				/****************************************************************************************************/
				if(!mux4_cikis)
				{
					HAL_GPIO_WritePin(GPIOB, GPIO_PIN_0, RESET);
					HAL_GPIO_WritePin(GPIOA, GPIO_PIN_3, SET);
					if(mux4[yan])
					{
						Setmuxchannel_MUX4(mux4[yan]+1);
						delay_us(700);
						Setmuxchannel_MUX4(mux4[yan]+8);
						delay_us(700);
					}
				}
				else	{
					HAL_GPIO_WritePin(GPIOB, GPIO_PIN_0, SET);
					HAL_GPIO_WritePin(GPIOA, GPIO_PIN_3, RESET);

				}

				/****************************************************************************************************/
				//				if(!mux5_cikis)
				//				{
				//					HAL_GPIO_WritePin(GPIOB, GPIO_PIN_9, RESET);
				//					HAL_GPIO_WritePin(GPIOB, GPIO_PIN_11, SET);
				//
				//					if(mux5[yan])
				//					{
				//						Setmuxchannel_MUX5(mux5[yan]+1);
				//						delay_us(700)
				//						Setmuxchannel_MUX5(mux5[yan]+8);
				//						delay_us(700)
				//					}
				//				}
				//				else	HAL_GPIO_WritePin(GPIOB, GPIO_PIN_9, SET);
			}

		}

	}
	/* USER CODE END 3 */
}

void SystemClock_Config(void)
{
	RCC_OscInitTypeDef RCC_OscInitStruct = {0};
	RCC_ClkInitTypeDef RCC_ClkInitStruct = {0};

	/** Initializes the RCC Oscillators according to the specified parameters
	 * in the RCC_OscInitTypeDef structure.
	 */
	RCC_OscInitStruct.OscillatorType = RCC_OSCILLATORTYPE_HSE;
	RCC_OscInitStruct.HSEState = RCC_HSE_ON;
	RCC_OscInitStruct.HSEPredivValue = RCC_HSE_PREDIV_DIV1;
	RCC_OscInitStruct.HSIState = RCC_HSI_ON;
	RCC_OscInitStruct.PLL.PLLState = RCC_PLL_ON;
	RCC_OscInitStruct.PLL.PLLSource = RCC_PLLSOURCE_HSE;
	RCC_OscInitStruct.PLL.PLLMUL = RCC_PLL_MUL9;
	if (HAL_RCC_OscConfig(&RCC_OscInitStruct) != HAL_OK)
	{
		Error_Handler();
	}

	/** Initializes the CPU, AHB and APB buses clocks
	 */
	RCC_ClkInitStruct.ClockType = RCC_CLOCKTYPE_HCLK|RCC_CLOCKTYPE_SYSCLK
			|RCC_CLOCKTYPE_PCLK1|RCC_CLOCKTYPE_PCLK2;
	RCC_ClkInitStruct.SYSCLKSource = RCC_SYSCLKSOURCE_PLLCLK;
	RCC_ClkInitStruct.AHBCLKDivider = RCC_SYSCLK_DIV1;
	RCC_ClkInitStruct.APB1CLKDivider = RCC_HCLK_DIV2;
	RCC_ClkInitStruct.APB2CLKDivider = RCC_HCLK_DIV1;

	if (HAL_RCC_ClockConfig(&RCC_ClkInitStruct, FLASH_LATENCY_2) != HAL_OK)
	{
		Error_Handler();
	}
}

static void MX_I2C1_Init(void)
{

	hi2c1.Instance = I2C1;
	hi2c1.Init.ClockSpeed = 1;
	hi2c1.Init.DutyCycle = I2C_DUTYCYCLE_2;
	hi2c1.Init.OwnAddress1 = 160;
	hi2c1.Init.AddressingMode = I2C_ADDRESSINGMODE_7BIT;
	hi2c1.Init.DualAddressMode = I2C_DUALADDRESS_DISABLE;
	hi2c1.Init.OwnAddress2 = 0;
	hi2c1.Init.GeneralCallMode = I2C_GENERALCALL_DISABLE;
	hi2c1.Init.NoStretchMode = I2C_NOSTRETCH_DISABLE;
	if (HAL_I2C_Init(&hi2c1) != HAL_OK)
	{
		Error_Handler();
	}

}

static void MX_TIM1_Init(void)
{

	TIM_ClockConfigTypeDef sClockSourceConfig = {0};
	TIM_MasterConfigTypeDef sMasterConfig = {0};

	htim1.Instance = TIM1;
	htim1.Init.Prescaler = 3599;
	htim1.Init.CounterMode = TIM_COUNTERMODE_UP;
	htim1.Init.Period = 399;
	htim1.Init.ClockDivision = TIM_CLOCKDIVISION_DIV1;
	htim1.Init.RepetitionCounter = 0;
	htim1.Init.AutoReloadPreload = TIM_AUTORELOAD_PRELOAD_DISABLE;
	if (HAL_TIM_Base_Init(&htim1) != HAL_OK)
	{
		Error_Handler();
	}
	sClockSourceConfig.ClockSource = TIM_CLOCKSOURCE_INTERNAL;
	if (HAL_TIM_ConfigClockSource(&htim1, &sClockSourceConfig) != HAL_OK)
	{
		Error_Handler();
	}
	sMasterConfig.MasterOutputTrigger = TIM_TRGO_UPDATE;
	sMasterConfig.MasterSlaveMode = TIM_MASTERSLAVEMODE_DISABLE;
	if (HAL_TIMEx_MasterConfigSynchronization(&htim1, &sMasterConfig) != HAL_OK)
	{
		Error_Handler();
	}

}

static void MX_TIM2_Init(void)
{

	TIM_ClockConfigTypeDef sClockSourceConfig = {0};
	TIM_MasterConfigTypeDef sMasterConfig = {0};

	htim2.Instance = TIM2;
	htim2.Init.Prescaler = 72-1;
	htim2.Init.CounterMode = TIM_COUNTERMODE_UP;
	htim2.Init.Period = 0xffff-1;
	htim2.Init.ClockDivision = TIM_CLOCKDIVISION_DIV1;
	htim2.Init.AutoReloadPreload = TIM_AUTORELOAD_PRELOAD_DISABLE;
	if (HAL_TIM_Base_Init(&htim2) != HAL_OK)
	{
		Error_Handler();
	}
	sClockSourceConfig.ClockSource = TIM_CLOCKSOURCE_INTERNAL;
	if (HAL_TIM_ConfigClockSource(&htim2, &sClockSourceConfig) != HAL_OK)
	{
		Error_Handler();
	}
	sMasterConfig.MasterOutputTrigger = TIM_TRGO_RESET;
	sMasterConfig.MasterSlaveMode = TIM_MASTERSLAVEMODE_DISABLE;
	if (HAL_TIMEx_MasterConfigSynchronization(&htim2, &sMasterConfig) != HAL_OK)
	{
		Error_Handler();
	}

}

static void MX_GPIO_Init(void)
{
	GPIO_InitTypeDef GPIO_InitStruct = {0};

	/* GPIO Ports Clock Enable */
	__HAL_RCC_GPIOC_CLK_ENABLE();
	__HAL_RCC_GPIOD_CLK_ENABLE();
	__HAL_RCC_GPIOA_CLK_ENABLE();
	__HAL_RCC_GPIOB_CLK_ENABLE();

	/*Configure GPIO pin Output Level */
	HAL_GPIO_WritePin(GPIOC, GPIO_PIN_13|GPIO_PIN_14|GPIO_PIN_15, GPIO_PIN_RESET);

	/*Configure GPIO pin Output Level */
	HAL_GPIO_WritePin(GPIOA, GPIO_PIN_0|GPIO_PIN_1|GPIO_PIN_2|GPIO_PIN_3
			|GPIO_PIN_4|GPIO_PIN_5|GPIO_PIN_6|GPIO_PIN_7
			|GPIO_PIN_8|GPIO_PIN_9|GPIO_PIN_10|GPIO_PIN_11
			|GPIO_PIN_12|GPIO_PIN_15, GPIO_PIN_RESET);

	/*Configure GPIO pin Output Level */
	HAL_GPIO_WritePin(GPIOB, GPIO_PIN_0|GPIO_PIN_1|GPIO_PIN_2|GPIO_PIN_10
			|GPIO_PIN_11|GPIO_PIN_12|GPIO_PIN_13|GPIO_PIN_14
			|GPIO_PIN_15|GPIO_PIN_3|GPIO_PIN_4|GPIO_PIN_5
			|GPIO_PIN_8|GPIO_PIN_9, GPIO_PIN_RESET);

	/*Configure GPIO pins : PC13 PC14 PC15 */
	GPIO_InitStruct.Pin = GPIO_PIN_13|GPIO_PIN_14|GPIO_PIN_15;
	GPIO_InitStruct.Mode = GPIO_MODE_OUTPUT_PP;
	GPIO_InitStruct.Pull = GPIO_NOPULL;
	GPIO_InitStruct.Speed = GPIO_SPEED_FREQ_HIGH;
	HAL_GPIO_Init(GPIOC, &GPIO_InitStruct);

	/*Configure GPIO pins : PA0 PA1 PA2 PA3
                           PA4 PA5 PA6 PA7
                           PA8 PA9 PA10 PA11
                           PA12 PA15 */
	GPIO_InitStruct.Pin = GPIO_PIN_0|GPIO_PIN_1|GPIO_PIN_2|GPIO_PIN_3
			|GPIO_PIN_4|GPIO_PIN_5|GPIO_PIN_6|GPIO_PIN_7
			|GPIO_PIN_8|GPIO_PIN_9|GPIO_PIN_10|GPIO_PIN_11
			|GPIO_PIN_12|GPIO_PIN_15;
	GPIO_InitStruct.Mode = GPIO_MODE_OUTPUT_PP;
	GPIO_InitStruct.Pull = GPIO_NOPULL;
	GPIO_InitStruct.Speed = GPIO_SPEED_FREQ_HIGH;
	HAL_GPIO_Init(GPIOA, &GPIO_InitStruct);

	/*Configure GPIO pins : PB0 PB1 PB2 PB10
                           PB11 PB12 PB13 PB14
                           PB15 PB3 PB4 PB5
                           PB8 PB9 */
	GPIO_InitStruct.Pin = GPIO_PIN_0|GPIO_PIN_1|GPIO_PIN_2|GPIO_PIN_10
			|GPIO_PIN_11|GPIO_PIN_12|GPIO_PIN_13|GPIO_PIN_14
			|GPIO_PIN_15|GPIO_PIN_3|GPIO_PIN_4|GPIO_PIN_5
			|GPIO_PIN_8|GPIO_PIN_9;
	GPIO_InitStruct.Mode = GPIO_MODE_OUTPUT_PP;
	GPIO_InitStruct.Pull = GPIO_NOPULL;
	GPIO_InitStruct.Speed = GPIO_SPEED_FREQ_HIGH;
	HAL_GPIO_Init(GPIOB, &GPIO_InitStruct);

}

void Error_Handler(void)
{
	__disable_irq();
	while (1)
	{
	}
}
